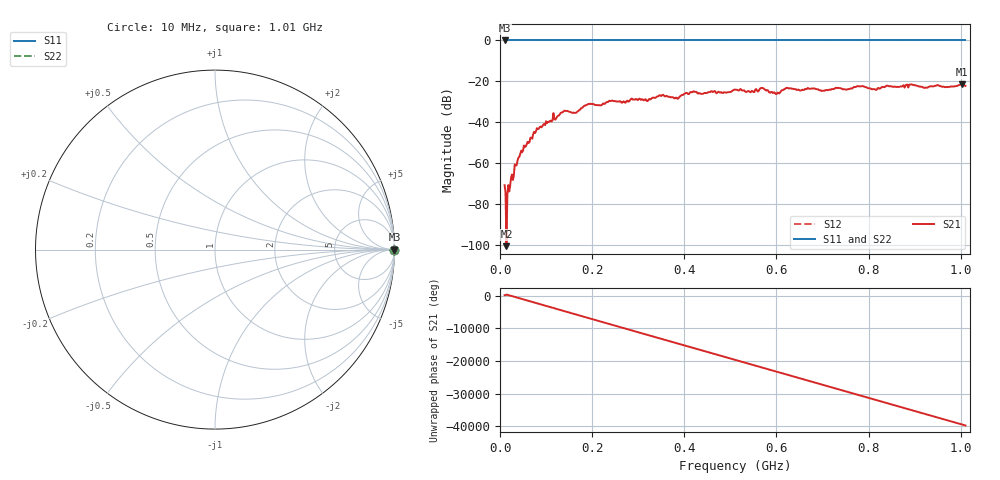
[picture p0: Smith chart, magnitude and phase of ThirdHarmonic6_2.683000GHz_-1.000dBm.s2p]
! 8/17/2025 6:19:12 AM
! C:\ANRITSUVNA\TEMP\TEMP.S2P
! CHANNEL.1
! TR.MEASUREMENT
! RAW.DATA
! RF.CORRECTION.OFF
! AVERAGING.OFF
! IF.BANDWIDTH: 5KHZ
! SWEEPTYPE:  FREQ.SWEEP(Linear)
! Reference Plane Port Info
! PORT:  PORT1  PORT2
! DISTANCE:  0  m  0  m
! TIME:  0  s  0  s
! PHASE.OFFSET:  0  deg.  0  deg.
! LOSS:  0  dB  0  dB
! REF.LOSS:  0  dB  0  dB
! REF.FREQ:  0  Hz  0  Hz
! Power Info
! POWER:  -20  dBm  -20  dBm
! EFF.POWER:  -20  dBm  -20  dBm
! SOURCE.ATTEN:  0  dB  0  dB
! TEST.ATTEN:  0  dB  0  dB
# GHZ S RI R 50.0
! FREQ.GHZ  S11RE  S11IM  S21RE  S21IM  S12RE  S12IM  S22RE  S22IM
!; PortSelection: Port_12
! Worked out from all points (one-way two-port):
!   501 points, 10 MHz to 1.01 GHz, reference 50 ohm
!   highest |S21| = -21.47 dB at 1.002 GHz (marker M1); lowest = -100.7 dB at 14 MHz (marker M2)
!   lowest |S11| = 0.0 dB at 10 MHz (marker M3)
!   |S11| at or under -10 dB: nowhere
!   |S22| runs from 0.0 to 0.0 dB; largest |S21 - S12| = 1.1
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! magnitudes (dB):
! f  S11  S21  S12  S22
! 10 MHz  0.0  -70.9  0.0  0.0
! 14 MHz  0.0  -100.7  0.0  0.0
! 18 MHz  0.0  -70.8  0.0  0.0
! 22 MHz  0.0  -71.2  0.0  0.0
! 42 MHz  0.0  -56.9  0.0  0.0
! 76 MHz  0.0  -45.3  0.0  0.0
! 136 MHz  0.0  -35.1  0.0  0.0
! 162 MHz  0.0  -35.5  0.0  0.0
! 178 MHz  0.0  -33.0  0.0  0.0
! 344 MHz  0.0  -27.2  0.0  0.0
! 382 MHz  0.0  -27.9  0.0  0.0
! 418 MHz  0.0  -25.2  0.0  0.0
! 510 MHz  0.0  -24.1  0.0  0.0
! 568 MHz  0.0  -23.2  0.0  0.0
! 602 MHz  0.0  -25.5  0.0  0.0
! 622 MHz  0.0  -23.2  0.0  0.0
! 678 MHz  0.0  -23.5  0.0  0.0
! 784 MHz  0.0  -22.4  0.0  0.0
! 814 MHz  0.0  -24.0  0.0  0.0
! 844 MHz  0.0  -22.4  0.0  0.0
! 1.002 GHz  0.0  -21.5  0.0  0.0
! 1.01 GHz  0.0  -22.3  0.0  0.0
